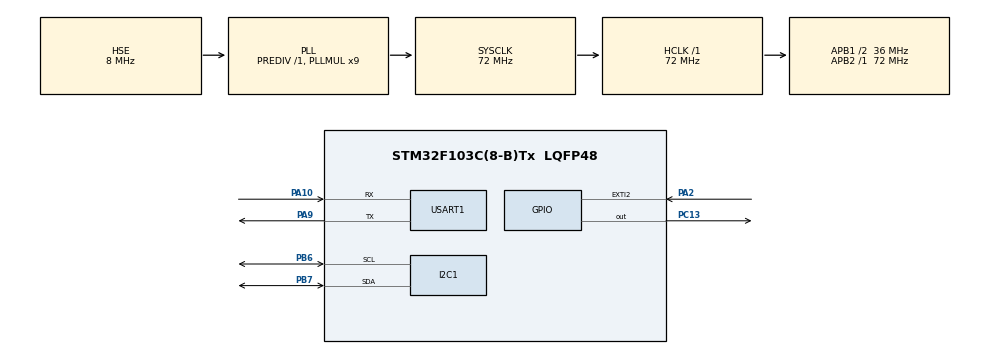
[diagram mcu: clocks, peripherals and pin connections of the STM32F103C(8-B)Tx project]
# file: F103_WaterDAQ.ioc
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Mcu.Family=STM32F1
Mcu.Name=STM32F103C(8-B)Tx
Mcu.Package=LQFP48
NVIC.EXTI2_IRQn=true\:2\:0\:true\:false\:true\:true\:true\:true
NVIC.PriorityGroup=NVIC_PRIORITYGROUP_4
PA10.Mode=Asynchronous
PA10.Signal=USART1_RX
PA13.Mode=Serial_Wire
PA13.Signal=SYS_JTMS-SWDIO
PA14.Mode=Serial_Wire
PA14.Signal=SYS_JTCK-SWCLK
PA2.GPIO_ModeDefaultEXTI=GPIO_MODE_IT_RISING_FALLING
PA2.GPIO_PuPd=GPIO_PULLUP
PA2.Signal=GPXTI2
PA9.Mode=Asynchronous
PA9.Signal=USART1_TX
PB6.Mode=I2C
PB6.Signal=I2C1_SCL
PB7.Mode=I2C
PB7.Signal=I2C1_SDA
PC13-TAMPER-RTC.PinState=GPIO_PIN_SET
PC13-TAMPER-RTC.Signal=GPIO_Output
PD0-OSC_IN.Mode=HSE-External-Oscillator
PD0-OSC_IN.Signal=RCC_OSC_IN
PD1-OSC_OUT.Mode=HSE-External-Oscillator
PD1-OSC_OUT.Signal=RCC_OSC_OUT
ProjectManager.HeapSize=0x200
ProjectManager.StackSize=0x400
ProjectManager.TargetToolchain=MDK-ARM V5
RCC.AHBFreq_Value=72000000
RCC.APB1CLKDivider=RCC_HCLK_DIV2
RCC.APB1Freq_Value=36000000
RCC.APB1TimFreq_Value=72000000
RCC.APB2Freq_Value=72000000
RCC.APB2TimFreq_Value=72000000
RCC.HCLKFreq_Value=72000000
RCC.PLLMUL=RCC_PLL_MUL9
RCC.PLLSourceVirtual=RCC_PLLSOURCE_HSE
RCC.SYSCLKFreq_VALUE=72000000
RCC.SYSCLKSource=RCC_SYSCLKSOURCE_PLLCLK
RCC.USBFreq_Value=72000000
USART1.VirtualMode=VM_ASYNC
board=custom

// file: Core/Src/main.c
/* USER CODE BEGIN Header */
/**
  ******************************************************************************
  * @file           : main.c
  * @brief          : Main program body
  ******************************************************************************
  * @attention
  *
  * Copyright (c) 2026 STMicroelectronics.
  * All rights reserved.
  *
  * This software is licensed under terms that can be found in the LICENSE file
  * in the root directory of this software component.
  * If no LICENSE file comes with this software, it is provided AS-IS.
  *
  ******************************************************************************
  */
/* USER CODE END Header */
#include "main.h"

/* USER CODE BEGIN Includes */
#include <stdio.h>

/* USER CODE END Includes */

I2C_HandleTypeDef hi2c1;

UART_HandleTypeDef huart1;

void SystemClock_Config(void);
static void MX_GPIO_Init(void);
static void MX_USART1_UART_Init(void);
static void MX_I2C1_Init(void);

/* USER CODE BEGIN 0 */
/* ===== 6x8 ASCII 字库 + 文字显示 ===== */
static const uint8_t font6x8[95][6] = {  {0x00,0x00,0x00,0x00,0x00,0x00},  /* SP */
  {0x00,0x00,0x2F,0x00,0x00,0x00},  /* ! */
  {0x00,0x03,0x00,0x03,0x00,0x00},  /* " */
  {0x0A,0x3A,0x3F,0x0F,0x0A,0x00},  /* # */
  {0x00,0x26,0x75,0x2F,0x39,0x00},  /* $ */
  {0x27,0x15,0x3F,0x2A,0x39,0x00},  /* % */
  {0x3F,0x2D,0x33,0x28,0x00,0x00},  /* & */
  {0x00,0x00,0x03,0x00,0x00,0x00},  /* ' */
  {0x00,0x3E,0x41,0x80,0x00,0x00},  /* ( */
  {0x00,0x80,0x41,0x3E,0x00,0x00},  /* ) */
  {0x00,0x06,0x0F,0x06,0x00,0x00},  /* * */
  {0x08,0x08,0x3E,0x08,0x08,0x00},  /* + */
  {0x00,0x80,0x60,0x00,0x00,0x00},  /* , */
  {0x00,0x08,0x08,0x08,0x00,0x00},  /* - */
  {0x00,0x00,0x20,0x00,0x00,0x00},  /* . */
  {0x00,0x40,0x38,0x06,0x01,0x00},  /* / */
  {0x1E,0x29,0x25,0x1E,0x00,0x00},  /* 0 */
  {0x00,0x22,0x3F,0x20,0x00,0x00},  /* 1 */
  {0x00,0x22,0x31,0x29,0x27,0x00},  /* 2 */
  {0x00,0x21,0x25,0x25,0x1B,0x00},  /* 3 */
  {0x18,0x14,0x13,0x3F,0x10,0x00},  /* 4 */
  {0x00,0x27,0x25,0x25,0x19,0x00},  /* 5 */
  {0x00,0x1E,0x27,0x25,0x1D,0x00},  /* 6 */
  {0x00,0x01,0x31,0x0D,0x03,0x00},  /* 7 */
  {0x00,0x3B,0x25,0x25,0x1B,0x00},  /* 8 */
  {0x2E,0x29,0x29,0x1E,0x00,0x00},  /* 9 */
  {0x00,0x00,0x24,0x00,0x00,0x00},  /* : */
  {0x00,0x80,0x64,0x00,0x00,0x00},  /* ; */
  {0x00,0x08,0x14,0x22,0x00,0x00},  /* < */
  {0x00,0x14,0x14,0x14,0x14,0x00},  /* = */
  {0x00,0x22,0x14,0x08,0x00,0x00},  /* > */
  {0x00,0x29,0x09,0x0E,0x00,0x00},  /* ? */
  {0x7C,0x82,0xBD,0x9D,0x3E,0x00},  /* @ */
  {0x00,0x3E,0x11,0x3E,0x00,0x00},  /* A */
  {0x00,0x3F,0x25,0x25,0x1B,0x00},  /* B */
  {0x1E,0x21,0x21,0x21,0x00,0x00},  /* C */
  {0x3F,0x21,0x21,0x1E,0x00,0x00},  /* D */
  {0x00,0x3F,0x25,0x25,0x00,0x00},  /* E */
  {0x00,0x3F,0x05,0x05,0x00,0x00},  /* F */
  {0x1E,0x21,0x25,0x3D,0x00,0x00},  /* G */
  {0x3F,0x04,0x04,0x3F,0x00,0x00},  /* H */
  {0x00,0x21,0x3F,0x21,0x00,0x00},  /* I */
  {0x00,0x21,0x21,0x3F,0x00,0x00},  /* J */
  {0x00,0x3F,0x0C,0x12,0x21,0x00},  /* K */
  {0x00,0x3F,0x20,0x20,0x00,0x00},  /* L */
  {0x06,0x08,0x06,0x3F,0x00,0x00},  /* M */
  {0x00,0x3F,0x0C,0x3F,0x00,0x00},  /* N */
  {0x1E,0x21,0x21,0x21,0x1E,0x00},  /* O */
  {0x00,0x3F,0x09,0x09,0x06,0x00},  /* P */
  {0x1E,0x21,0x61,0xA1,0x9E,0x00},  /* Q */
  {0x00,0x3F,0x09,0x09,0x36,0x00},  /* R */
  {0x00,0x26,0x25,0x29,0x19,0x00},  /* S */
  {0x01,0x01,0x3F,0x01,0x01,0x00},  /* T */
  {0x1F,0x20,0x20,0x1F,0x00,0x00},  /* U */
  {0x00,0x1F,0x20,0x1F,0x00,0x00},  /* V */
  {0x00,0x3F,0x04,0x3F,0x00,0x00},  /* W */
  {0x21,0x12,0x0C,0x12,0x21,0x00},  /* X */
  {0x01,0x06,0x38,0x06,0x01,0x00},  /* Y */
  {0x21,0x39,0x27,0x21,0x00,0x00},  /* Z */
  {0x00,0xFF,0x81,0x00,0x00,0x00},  /* [ */
  {0x00,0x01,0x0E,0x30,0x40,0x00},  /* \ */
  {0x00,0x00,0x81,0xFF,0x00,0x00},  /* ] */
  {0x00,0x06,0x01,0x06,0x00,0x00},  /* ^ */
  {0x80,0x80,0x80,0x80,0x80,0x00},  /* _ */
  {0x00,0x00,0x01,0x00,0x00,0x00},  /* ` */
  {0x00,0x34,0x34,0x34,0x3C,0x00},  /* a */
  {0x00,0x3F,0x24,0x24,0x1C,0x00},  /* b */
  {0x00,0x38,0x24,0x24,0x00,0x00},  /* c */
  {0x38,0x24,0x24,0x3F,0x00,0x00},  /* d */
  {0x00,0x18,0x2C,0x2C,0x2C,0x00},  /* e */
  {0x04,0x04,0x3F,0x05,0x01,0x00},  /* f */
  {0xFC,0xD4,0xD4,0xDC,0x00,0x00},  /* g */
  {0x00,0x3F,0x04,0x04,0x3C,0x00},  /* h */
  {0x00,0x24,0x24,0x3D,0x20,0x00},  /* i */
  {0x00,0x84,0x84,0xFD,0x00,0x00},  /* j */
  {0x00,0x3F,0x08,0x14,0x20,0x00},  /* k */
  {0x00,0x21,0x21,0x3F,0x20,0x00},  /* l */
  {0x3C,0x04,0x3C,0x04,0x3C,0x00},  /* m */
  {0x00,0x3C,0x04,0x04,0x3C,0x00},  /* n */
  {0x18,0x24,0x24,0x18,0x00,0x00},  /* o */
  {0x00,0xFC,0x24,0x24,0x1C,0x00},  /* p */
  {0x38,0x24,0x24,0xFC,0x00,0x00},  /* q */
  {0x00,0x3C,0x04,0x04,0x0C,0x00},  /* r */
  {0x00,0x2C,0x2C,0x34,0x34,0x00},  /* s */
  {0x04,0x3E,0x24,0x24,0x00,0x00},  /* t */
  {0x00,0x3C,0x20,0x20,0x3C,0x00},  /* u */
  {0x00,0x1C,0x20,0x1C,0x00,0x00},  /* v */
  {0x0C,0x30,0x18,0x38,0x04,0x00},  /* w */
  {0x24,0x18,0x08,0x18,0x24,0x00},  /* x */
  {0x80,0x9C,0x60,0x1C,0x00,0x00},  /* y */
  {0x00,0x24,0x3C,0x24,0x00,0x00},  /* z */
  {0x00,0x08,0xF7,0x81,0x00,0x00},  /* { */
  {0x00,0x00,0xFF,0x00,0x00,0x00},  /* | */
  {0x00,0x81,0xF7,0x08,0x00,0x00},  /* } */
  {0x08,0x18,0x10,0x18,0x00,0x00},  /* ~ */};
static void oled_setpos(uint8_t page, uint8_t col);
static void oled_putchar(char c);
static void oled_puts(uint8_t page, uint8_t col, const char *s);
/* ===== SSD1306 OLED 最小驱动 ===== */
#define OLED_ADDR   0x78
static void oled_cmd(uint8_t c);
static void oled_dat(const uint8_t *buf, uint16_t len);
static void oled_init(void);
static void oled_fill(uint8_t val);
typedef enum { ST_IDLE = 0, ST_PRESS, ST_LONG } touch_state_t;

static touch_state_t st_touch = ST_IDLE;   /* 当前状态 */
static uint32_t t_press = 0;               /* 按下时刻 */
static uint32_t g_short_cnt = 0;           /* 短按次数 */
static uint32_t g_long_cnt  = 0;           /* 长按次数 */
static void touch_fsm(void);

/* USER CODE END 0 */

int main(void)
{

  /* MCU Configuration--------------------------------------------------------*/

  /* Reset of all peripherals, Initializes the Flash interface and the Systick. */
  HAL_Init();

  /* Configure the system clock */
  SystemClock_Config();

  /* Initialize all configured peripherals */
  MX_GPIO_Init();
  MX_USART1_UART_Init();
  MX_I2C1_Init();
  /* USER CODE BEGIN 2 */
  /* ===== I2C 探测：OLED 地址 0x78 或 0x7A ===== */
  uint8_t g_oled_addr = 0;
  if (HAL_I2C_IsDeviceReady(&hi2c1, 0x78, 3, 100) == HAL_OK)      g_oled_addr = 1;
  else if (HAL_I2C_IsDeviceReady(&hi2c1, 0x7A, 3, 100) == HAL_OK) g_oled_addr = 2;
  if (g_oled_addr)
  {
    oled_init();
    oled_fill(0x00);                    /* 清屏 */
    oled_puts(1, 4, "Group 25");
    oled_puts(3, 4, "OLED OK");
    oled_puts(5, 4, "F103C8T6");
  }

  /* USER CODE END 2 */

  /* Infinite loop */
  while (1)
  {

    /* USER CODE BEGIN 3 */
    /* 调试 OLED 期间暂停 touch_fsm，避免抢 LED；查完恢复 */
    /* touch_fsm(); */
    HAL_GPIO_TogglePin(GPIOC, GPIO_PIN_13);
    HAL_Delay(1000);   /* 1s 心跳：程序在跑 */
  }
  /* USER CODE END 3 */
}

void SystemClock_Config(void)
{
  RCC_OscInitTypeDef RCC_OscInitStruct = {0};
  RCC_ClkInitTypeDef RCC_ClkInitStruct = {0};

  /** Initializes the RCC Oscillators according to the specified parameters
  * in the RCC_OscInitTypeDef structure.
  */
  RCC_OscInitStruct.OscillatorType = RCC_OSCILLATORTYPE_HSE;
  RCC_OscInitStruct.HSEState = RCC_HSE_ON;
  RCC_OscInitStruct.HSEPredivValue = RCC_HSE_PREDIV_DIV1;
  RCC_OscInitStruct.HSIState = RCC_HSI_ON;
  RCC_OscInitStruct.PLL.PLLState = RCC_PLL_ON;
  RCC_OscInitStruct.PLL.PLLSource = RCC_PLLSOURCE_HSE;
  RCC_OscInitStruct.PLL.PLLMUL = RCC_PLL_MUL9;
  if (HAL_RCC_OscConfig(&RCC_OscInitStruct) != HAL_OK)
  {
    Error_Handler();
  }

  /** Initializes the CPU, AHB and APB buses clocks
  */
  RCC_ClkInitStruct.ClockType = RCC_CLOCKTYPE_HCLK|RCC_CLOCKTYPE_SYSCLK
                              |RCC_CLOCKTYPE_PCLK1|RCC_CLOCKTYPE_PCLK2;
  RCC_ClkInitStruct.SYSCLKSource = RCC_SYSCLKSOURCE_PLLCLK;
  RCC_ClkInitStruct.AHBCLKDivider = RCC_SYSCLK_DIV1;
  RCC_ClkInitStruct.APB1CLKDivider = RCC_HCLK_DIV2;
  RCC_ClkInitStruct.APB2CLKDivider = RCC_HCLK_DIV1;

  if (HAL_RCC_ClockConfig(&RCC_ClkInitStruct, FLASH_LATENCY_2) != HAL_OK)
  {
    Error_Handler();
  }
}

static void MX_I2C1_Init(void)
{

  hi2c1.Instance = I2C1;
  hi2c1.Init.ClockSpeed = 100000;
  hi2c1.Init.DutyCycle = I2C_DUTYCYCLE_2;
  hi2c1.Init.OwnAddress1 = 0;
  hi2c1.Init.AddressingMode = I2C_ADDRESSINGMODE_7BIT;
  hi2c1.Init.DualAddressMode = I2C_DUALADDRESS_DISABLE;
  hi2c1.Init.OwnAddress2 = 0;
  hi2c1.Init.GeneralCallMode = I2C_GENERALCALL_DISABLE;
  hi2c1.Init.NoStretchMode = I2C_NOSTRETCH_DISABLE;
  if (HAL_I2C_Init(&hi2c1) != HAL_OK)
  {
    Error_Handler();
  }

}

static void MX_USART1_UART_Init(void)
{

  huart1.Instance = USART1;
  huart1.Init.BaudRate = 115200;
  huart1.Init.WordLength = UART_WORDLENGTH_8B;
  huart1.Init.StopBits = UART_STOPBITS_1;
  huart1.Init.Parity = UART_PARITY_NONE;
  huart1.Init.Mode = UART_MODE_TX_RX;
  huart1.Init.HwFlowCtl = UART_HWCONTROL_NONE;
  huart1.Init.OverSampling = UART_OVERSAMPLING_16;
  if (HAL_UART_Init(&huart1) != HAL_OK)
  {
    Error_Handler();
  }

}

static void MX_GPIO_Init(void)
{
  GPIO_InitTypeDef GPIO_InitStruct = {0};

  /* GPIO Ports Clock Enable */
  __HAL_RCC_GPIOC_CLK_ENABLE();
  __HAL_RCC_GPIOD_CLK_ENABLE();
  __HAL_RCC_GPIOA_CLK_ENABLE();
  __HAL_RCC_GPIOB_CLK_ENABLE();

  /*Configure GPIO pin Output Level */
  HAL_GPIO_WritePin(GPIOC, GPIO_PIN_13, GPIO_PIN_SET);

  /*Configure GPIO pin : PC13 */
  GPIO_InitStruct.Pin = GPIO_PIN_13;
  GPIO_InitStruct.Mode = GPIO_MODE_OUTPUT_PP;
  GPIO_InitStruct.Pull = GPIO_NOPULL;
  GPIO_InitStruct.Speed = GPIO_SPEED_FREQ_LOW;
  HAL_GPIO_Init(GPIOC, &GPIO_InitStruct);

  /*Configure GPIO pin : PA2 */
  GPIO_InitStruct.Pin = GPIO_PIN_2;
  GPIO_InitStruct.Mode = GPIO_MODE_IT_RISING_FALLING;
  GPIO_InitStruct.Pull = GPIO_PULLUP;
  HAL_GPIO_Init(GPIOA, &GPIO_InitStruct);

  /* EXTI interrupt init*/
  HAL_NVIC_SetPriority(EXTI2_IRQn, 2, 0);
  HAL_NVIC_EnableIRQ(EXTI2_IRQn);

}

/* USER CODE BEGIN 4 */
/* ---------- SSD1306 驱动 ---------- */
static void oled_cmd(uint8_t c)
{
  uint8_t buf[2] = { 0x00, c };           /* 0x00 = 命令 */
  HAL_I2C_Master_Transmit(&hi2c1, OLED_ADDR, buf, 2, 100);
}

static void oled_dat(const uint8_t *buf, uint16_t len)
{
  uint8_t tmp[129];
  if (len > 128) len = 128;
  tmp[0] = 0x40;                          /* 0x40 = 数据 */
  for (uint16_t i = 0; i < len; i++) tmp[1 + i] = buf[i];
  HAL_I2C_Master_Transmit(&hi2c1, OLED_ADDR, tmp, len + 1, 100);
}

static void oled_init(void)
{
  HAL_Delay(100);
  oled_cmd(0xAE);          /* 关显示 */
  oled_cmd(0xD5); oled_cmd(0x80);
  oled_cmd(0xA8); oled_cmd(0x3F);   /* 64 行 */
  oled_cmd(0xD3); oled_cmd(0x00);
  oled_cmd(0x40);
  oled_cmd(0x8D); oled_cmd(0x14);   /* 电荷泵开 */
  oled_cmd(0x20); oled_cmd(0x00);   /* 水平寻址 */
  oled_cmd(0xA1);                   /* 左右不镜像 */
  oled_cmd(0xC8);                   /* 上下不镜像 */
  oled_cmd(0xDA); oled_cmd(0x12);
  oled_cmd(0x81); oled_cmd(0xCF);   /* 亮度 */
  oled_cmd(0xD9); oled_cmd(0xF1);
  oled_cmd(0xDB); oled_cmd(0x40);
  oled_cmd(0xA4);
  oled_cmd(0xA6);                   /* 正常显示 */
  oled_cmd(0xAF);                   /* 开显示 */
}

static void oled_setpos(uint8_t page, uint8_t col)
{
  oled_cmd(0xB0 + page);
  oled_cmd(col & 0x0F);
  oled_cmd(0x10 | (col >> 4));
}

static void oled_putchar(char c)
{
  if (c < 32 || c > 126) c = ' ';
  oled_dat(font6x8[c - 32], 6);
}

static void oled_puts(uint8_t page, uint8_t col, const char *s)
{
  oled_setpos(page, col);
  while (*s) { oled_putchar(*s++); }
}
static void oled_fill(uint8_t val)
{
  uint8_t line[128];
  for (uint8_t i = 0; i < 128; i++) line[i] = val;
  for (uint8_t page = 0; page < 8; page++)
  {
    oled_cmd(0xB0 + page);          /* 选页 */
    oled_cmd(0x00);                 /* 列低位 */
    oled_cmd(0x10);                 /* 列高位 */
    oled_dat(line, 128);
  }
}
/* 触摸按键状态机：每 5ms 调用一次 */
static void touch_fsm(void)
{
  uint32_t now = HAL_GetTick();
  uint8_t  lv  = (uint8_t)HAL_GPIO_ReadPin(GPIOA, GPIO_PIN_2);  /* 0=按下 1=松开 */

  switch (st_touch)
  {
    case ST_IDLE:
      if (lv == 0) { t_press = now; st_touch = ST_PRESS; }
      break;

    case ST_PRESS:
      if (lv == 1) {
        if (now - t_press < 1000) {
          g_short_cnt++;
          HAL_GPIO_TogglePin(GPIOC, GPIO_PIN_13);   /* 短按：翻转 */
        }
        st_touch = ST_IDLE;
      } else if (now - t_press >= 1000) {
        g_long_cnt++;
        HAL_GPIO_WritePin(GPIOC, GPIO_PIN_13, GPIO_PIN_SET);  /* 长按：强制关 */
        st_touch = ST_LONG;
      }
      break;

    case ST_LONG:
      if (lv == 1) st_touch = ST_IDLE;
      break;
  }
}
int fputc(int ch, FILE *f)
{
  HAL_UART_Transmit(&huart1, (uint8_t *)&ch, 1, 0xFFFF);
  return ch;
}
/* 说明：旧的 EXTI 回调已移除，按键事件统一由 touch_fsm 轮询处理 */
/* USER CODE END 4 */

void Error_Handler(void)
{
  __disable_irq();
  while (1)
  {
  }
}
